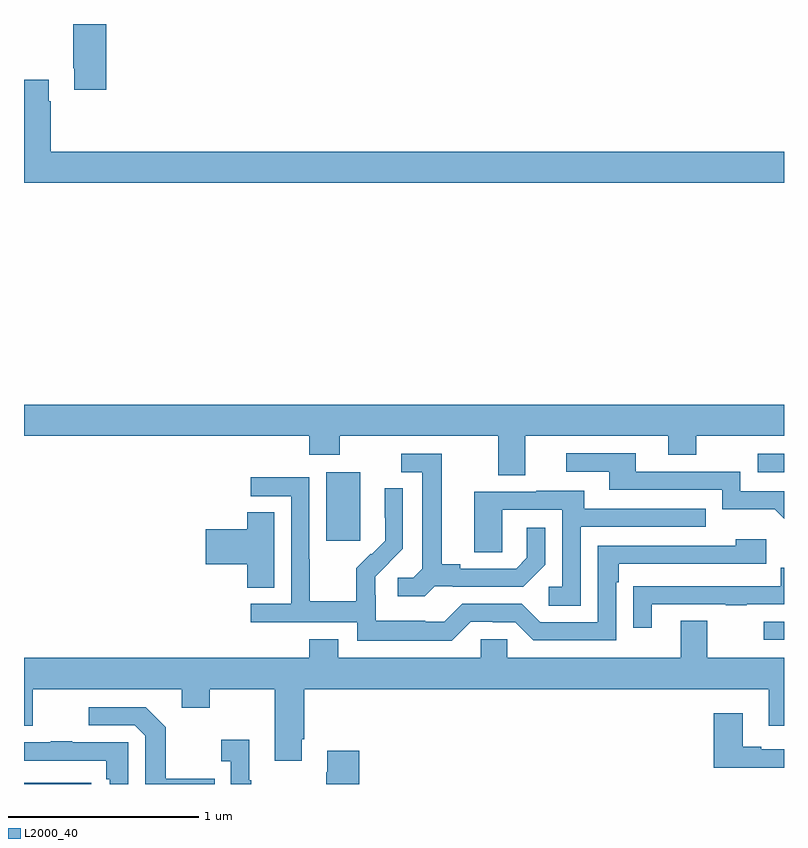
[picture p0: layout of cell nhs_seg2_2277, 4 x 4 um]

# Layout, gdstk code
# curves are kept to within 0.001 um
import gdstk
lib = gdstk.Library(unit=1e-6, precision=1e-09)
def R(c, l, rs):  # rectangles x0, y0, x1, y1
    for r in rs: c.add(gdstk.rectangle(r[:2], r[2:], *l))
def P(c, l, *ps):  # polygons
    for p in ps: c.add(gdstk.Polygon(p, *l))
L2000_40 = (2000, 40)

nhs_seg2_2277 = lib.new_cell('nhs_seg2_2277')
R(nhs_seg2_2277, L2000_40, [(229,649.8,229.354,649.806), (232.893,650.559,233,650.655), (230.591,651.081,230.77,651.442), (232.863,651.441,233,651.537)])
P(nhs_seg2_2277, L2000_40, [(229.433,653.8),(229.258,653.8),(229.258,653.566),(229.265,653.566),(229.265,653.454),(229.433,653.454)],
  [(233,653.128),(229.142,653.128),(229.142,653.393),(229.129,653.393),(229.129,653.506),(229,653.506),(229,652.964),(233,652.964)],
  [(231.637,651.632),(232.391,651.632),(232.391,651.533),(232.539,651.533),(232.539,651.632),(233,651.632),(233,651.796),(229,651.796),(229,651.632),(230.501,651.632),(230.501,651.533),(230.661,651.533),(230.661,651.632),(231.497,651.632),(231.497,651.424),(231.637,651.424)],
  [(233,651.342),(232.77,651.342),(232.77,651.444),(232.219,651.444),(232.219,651.54),(231.855,651.54),(231.855,651.444),(232.079,651.444),(232.079,651.348),(232.674,651.348),(232.674,651.245),(232.951,651.245),(233,651.196)],
  [(231.162,650.841),(231.256,650.841),(231.256,650.838),(231.628,650.838),(231.744,650.954),(231.744,651.148),(231.647,651.148),(231.647,650.991),(231.59,650.934),(231.295,650.934),(231.295,650.957),(231.199,650.957),(231.199,651.537),(230.985,651.537),(230.985,651.441),(231.095,651.441),(231.095,650.933),(231.048,650.886),(230.967,650.886),(230.967,650.789),(231.11,650.789)],
  [(231.351,650.655),(231.467,650.655),(231.467,650.652),(231.585,650.652),(231.681,650.556),(232.116,650.556),(232.116,650.861),(232.129,650.861),(232.129,650.958),(232.906,650.958),(232.906,651.088),(232.745,651.088),(232.745,651.054),(232.02,651.054),(232.02,650.652),(231.717,650.652),(231.621,650.748),(231.306,650.748),(231.213,650.655),(231.113,650.655),(231.113,650.659),(230.85,650.659),(230.85,650.793),(230.848,650.793),(230.848,650.89),(230.994,651.038),(230.994,651.356),(230.898,651.356),(230.898,651.202),(230.9,651.202),(230.9,651.08),(230.829,651.009),(230.826,651.012),(230.749,650.935),(230.749,650.761),(230.505,650.761),(230.505,650.984),(230.502,650.984),(230.502,651.414),(230.193,651.414),(230.193,651.315),(230.406,651.315),(230.406,650.748),(230.193,650.748),(230.193,650.652),(230.754,650.652),(230.754,650.555),(231.251,650.555)],
  [(231.93,651.153),(232.589,651.153),(232.589,651.249),(231.949,651.249),(231.949,651.343),(231.695,651.343),(231.695,651.339),(231.371,651.339),(231.371,651.019),(231.516,651.019),(231.516,651.243),(231.834,651.243),(231.834,650.838),(231.762,650.838),(231.762,650.737),(231.93,650.737)],
  [(230.317,651.23),(230.174,651.23),(230.174,651.14),(229.956,651.14),(229.956,650.957),(230.174,650.957),(230.174,650.833),(230.317,650.833)],
  [(232.303,650.745),(232.693,650.745),(232.693,650.74),(232.805,650.74),(232.805,650.745),(233,650.745),(233,650.938),(232.984,650.938),(232.984,650.841),(232.309,650.841),(232.309,650.84),(232.207,650.84),(232.207,650.622),(232.303,650.622)],
  [(230.461,650.035),(230.474,650.035),(230.474,650.3),(232.919,650.3),(232.919,650.106),(233,650.106),(233,650.464),(232.597,650.464),(232.597,650.659),(232.457,650.659),(232.457,650.464),(231.543,650.464),(231.543,650.562),(231.405,650.562),(231.405,650.464),(230.653,650.464),(230.653,650.563),(230.501,650.563),(230.501,650.464),(229,650.464),(229,650.106),(229.045,650.106),(229.045,650.3),(229.829,650.3),(229.829,650.201),(229.977,650.201),(229.977,650.3),(230.321,650.3),(230.321,649.923),(230.461,649.923)],
  [(230.003,649.827),(229.747,649.827),(229.747,650.099),(229.641,650.205),(229.341,650.205),(229.341,650.109),(229.584,650.109),(229.638,650.055),(229.638,649.8),(230.003,649.8)],
  [(233,649.983),(232.879,649.983),(232.879,649.996),(232.783,649.996),(232.783,650.173),(232.631,650.173),(232.631,649.886),(233,649.886)],
  [(230.197,649.819),(230.185,649.819),(230.185,650.032),(230.037,650.032),(230.037,649.919),(230.088,649.919),(230.088,649.8),(230.197,649.8)],
  [(229.548,650.019),(229.253,650.019),(229.253,650.024),(229.141,650.024),(229.141,650.019),(229,650.019),(229,649.923),(229.432,649.923),(229.432,649.826),(229.452,649.826),(229.452,649.8),(229.548,649.8)],
  [(230.765,649.975),(230.597,649.975),(230.597,649.862),(230.59,649.862),(230.59,649.8),(230.765,649.8)])

lib.write_gds('nhs_seg2_2277.gds')
